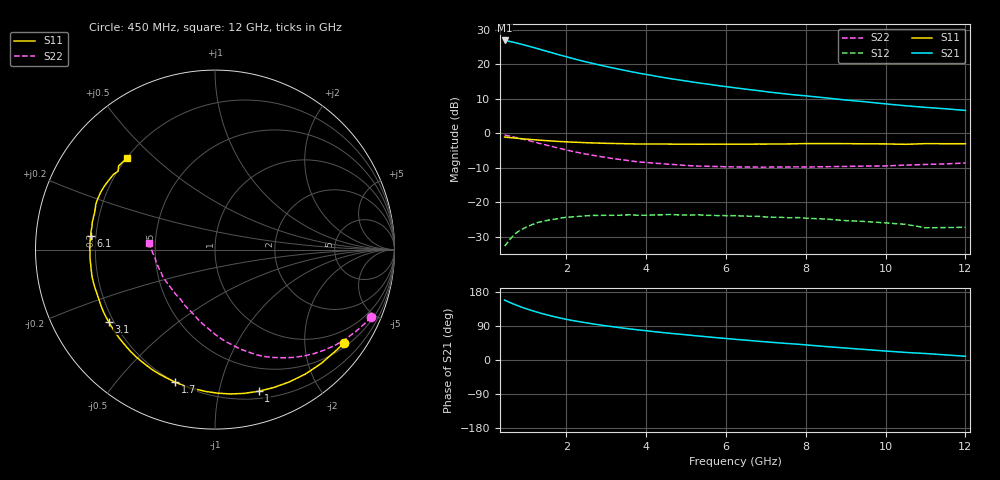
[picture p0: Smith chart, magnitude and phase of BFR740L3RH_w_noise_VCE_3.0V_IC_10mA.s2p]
! (c) 2012  Infineon Technologies AG, Munich
! Infineon Technologies  Discrete & RF Semiconductors
! BFR740L3RH
! VCE =  3.0 V,  IC =  10 mA
! Common Emitter S-Parameters:  May 2012
# GHz  S  MA  R  50
!  f  S11  S21  S12  S22
! GHz  MAG  ANG  MAG  ANG  MAG  ANG  MAG  ANG
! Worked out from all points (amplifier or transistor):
!   85 points, 450 MHz to 12 GHz, reference 50 ohm
!   highest |S21| = 26.9 dB at 450 MHz (marker M1)
!   |S21| within 3 dB of that: start of sweep to 1.465 GHz
!   unconditionally stable (mu >= 1): 8.082 GHz to end of sweep
!   at 1.8 GHz: K = 0.18, MSG = 23.8 dB, |S12| = -24.7 dB
!   at 4.6 GHz: K = 0.50, MSG = 19.7 dB, |S12| = -23.5 dB
!   at 12 GHz: K = 2.24, MAG = 10.7 dB, |S12| = -27.2 dB
!   lowest NFmin = 0.59 dB at 450 MHz
!   S11 on the Smith chart (normalised r, x): 450 MHz: 0.61, -2.97; 1 GHz: 0.27, -1.32; 1.7 GHz: 0.20, -0.73; 3.1 GHz: 0.18, -0.30; 6.1 GHz: 0.18, +0.05; 12 GHz: 0.20, +0.41
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0.45  0.8871 -35.9  22.24 158.0  0.0232 79.1  0.9495 -23.4
0.6  0.8675 -47.0  21.39 150.9  0.0299 63.9  0.908 -30.1
0.7  0.857 -54.0  20.77 146.6  0.0345 59.7  0.8818 -34.5
0.8  0.8458 -60.6  20.09 142.4  0.0382 56.6  0.8546 -38.7
1  0.8258 -72.9  18.73 135.0  0.044 50.4  0.8008 -46.3
1.2  0.809 -83.8  17.41 128.3  0.0492 44.9  0.748 -53.3
1.3  0.8001 -88.9  16.76 125.2  0.0515 42.5  0.7227 -56.5
1.5  0.7849 -98.1  15.54 119.4  0.0546 38.4  0.6761 -62.6
1.7  0.7714 -106.6  14.4 114.2  0.0571 34.1  0.633 -68.1
2  0.7547 -117.6  12.89 107.3  0.0607 29.3  0.5756 -75.2
2.4  0.737 -129.7  11.21 99.7  0.0633 24.1  0.5141 -83.6
2.7  0.7266 -137.0  10.2 94.7  0.0648 20.6  0.4768 -89.1
3.1  0.7158 -145.9  9.052 88.7  0.065 17.5  0.4374 -95.6
3.6  0.7059 -155.3  7.889 81.9  0.0661 13.2  0.4 -103.7
4.3  0.7014 -165.5  6.66 73.7  0.0659 9.6  0.3671 -112.8
5.2  0.6972 -177.0  5.516 64.3  0.0658 5.5  0.3381 -124.2
6.1  0.6971 173.9  4.683 55.8  0.0641 1.9  0.3275 -134.9
6.3  0.6979 172.0  4.524 54.0  0.064 1.7  0.3261 -137.1
7.2  0.7012 164.3  3.9 46.2  0.061 -1.6  0.3257 -147.3
8.5  0.713 153.4  3.271 35.5  0.0573 -4.7  0.329 -160.9
10.5  0.6944 141.1  2.515 20.0  0.0481 -3.6  0.3471 -176.5
12  0.7089 133.7  2.152 9.9  0.0435 5.6  0.3722 173.9
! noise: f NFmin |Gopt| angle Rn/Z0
0.45  0.59  0.25  4  0.12
0.9  0.6  0.25  15  0.12
1.5  0.61  0.26  33  0.1
1.9  0.63  0.27  43  0.11
2.4  0.65  0.3  52  0.1
3.5  0.71  0.29  72  0.1
5.5  0.86  0.31  103  0.09
8  1.06  0.33  142  0.08
10  1.24  0.35  168  0.07
12  1.41  0.39  -158  0.07
